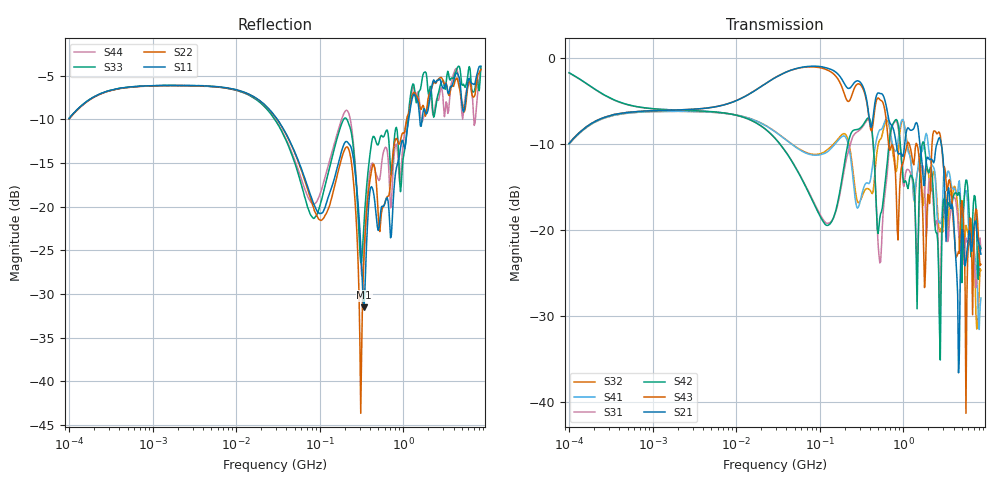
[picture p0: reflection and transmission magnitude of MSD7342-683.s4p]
# MHz S MA R 50
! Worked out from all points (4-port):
!   498 points, 100 kHz to 8.5 GHz, reference 50 ohm
!   strongest paths, dB at 100 kHz, 1.698 MHz, 29.49 MHz, 500.7 MHz, 8.5 GHz:
!     S21: -9.9, -6.0, -2.3, -4.1, -22.8
!     S43: -9.9, -6.1, -2.2, -4.6, -24.0
!     S42: -1.7, -6.0, -9.4, -20.4, -22.1
!     S31: -1.7, -6.0, -9.4, -21.7, -22.3
!     S41: -10.0, -6.2, -8.6, -8.7, -27.9
!     S32: -10.0, -6.2, -8.6, -10.1, -24.7
!   lowest |S11| = -31.5 dB at 339.6 MHz (marker M1), VSWR 1.05, Z = 52.2 - j1.57 ohm
!   |S11| at or under -10 dB: 31.14 MHz to 1.162 GHz (1.131 GHz wide, 190 % of centre); 1.578 GHz to 1.683 GHz (104.4 MHz wide, 6.4 % of centre)
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0.1  0.319 48.6  0.3189 49.7  0.8201 -17.3  0.3166 -130.7
     0.3189 49.7  0.3179 48.7  0.3172 -130.8  0.8211 -17.2
     0.8201 -17.3  0.3172 -130.8  0.3215 48.8  0.3199 49.5
     0.3166 -130.7  0.8211 -17.2  0.3199 49.5  0.3188 48.7
62.65765  0.1567 -56.6  0.8858 -6.9  0.1954 -91.8  0.2861 84.9
          0.8858 -6.9  0.1533 -60.8  0.2886 82.6  0.1936 -92.3
          0.1954 -91.8  0.2886 82.6  0.1252 -50.0  0.882 -9.3
          0.2861 84.9  0.1936 -92.3  0.882 -9.3  0.1363 -45.7
339.572  0.02646 -34.5  0.6572 -83.4  0.4105 -3.5  0.1792 -5.5
         0.6572 -83.4  0.05311 46.3  0.1675 -18.8  0.4173 -6.6
         0.4105 -3.5  0.1675 -18.8  0.08147 8.8  0.6406 -87.2
         0.1792 -5.5  0.4173 -6.6  0.6406 -87.2  0.05466 -12.0
1641.715  0.289 167.0  0.2716 89.7  0.2275 142.8  0.2832 138.3
          0.2716 89.7  0.3609 166.3  0.187 104.1  0.2891 153.6
          0.2275 142.8  0.187 104.1  0.4974 163.0  0.1927 82.6
          0.2832 138.3  0.2891 153.6  0.1927 82.6  0.3094 144.5
2776.003  0.5342 -2.7  0.3374 -56.9  0.03658 15.2  0.1094 -23.8
          0.3374 -56.9  0.5484 -1.4  0.09797 -35.5  0.01764 -3.3
          0.03658 15.2  0.09797 -35.5  0.4976 -5.9  0.3551 -35.3
          0.1094 -23.8  0.01764 -3.3  0.3551 -35.3  0.4612 -0.8
4284.188  0.5787 176.3  0.06561 78.9  0.1446 125.7  0.1632 124.6
          0.06561 78.9  0.5403 169.9  0.1665 114.6  0.1641 121.4
          0.1446 125.7  0.1665 114.6  0.5959 174.9  0.06966 129.3
          0.1632 124.6  0.1641 121.4  0.06966 129.3  0.6185 171.6
8500  0.6386 -61.4  0.07259 38.1  0.07684 -28.8  0.04045 -33.7
      0.07259 38.1  0.6113 -65.2  0.05837 -45.6  0.07842 -80.6
      0.07684 -28.8  0.05837 -45.6  0.6325 -42.8  0.06342 52.1
      0.04045 -33.7  0.07842 -80.6  0.06342 52.1  0.6213 -61.1
